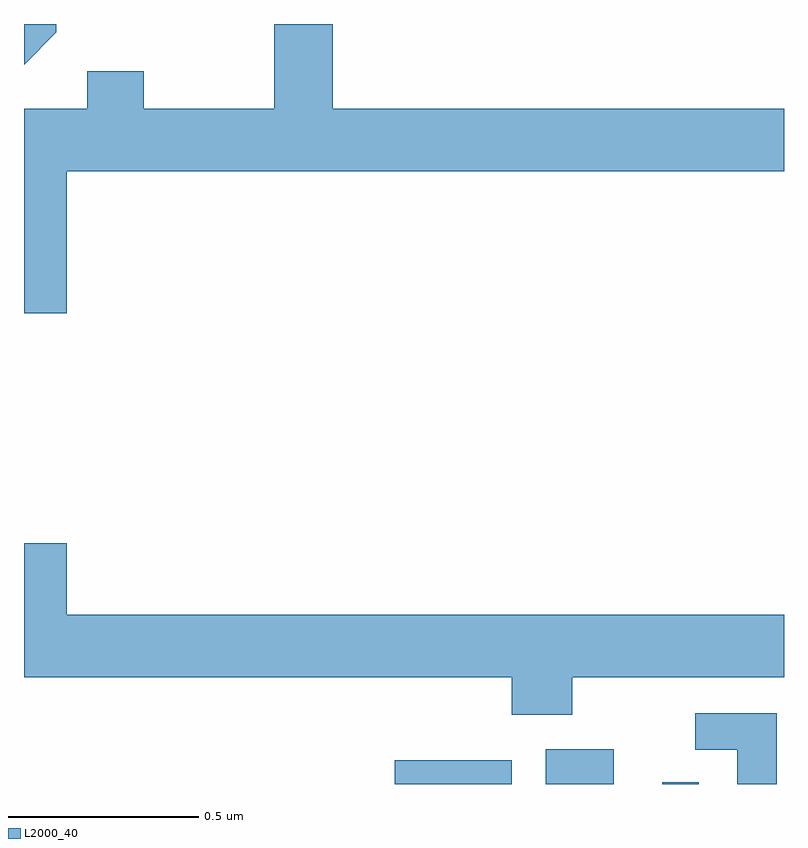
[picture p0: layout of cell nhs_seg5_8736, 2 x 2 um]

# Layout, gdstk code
import gdstk
lib = gdstk.Library(unit=1e-6, precision=1e-09)
def R(c, l, rs):  # rectangles x0, y0, x1, y1
    for r in rs: c.add(gdstk.rectangle(r[:2], r[2:], *l))
def P(c, l, *ps):  # polygons
    for p in ps: c.add(gdstk.Polygon(p, *l))
L2000_40 = (2000, 40)

nhs_seg5_8736 = lib.new_cell('nhs_seg5_8736')
R(nhs_seg5_8736, L2000_40, [(225.975,869.799,226.284,869.862), (226.373,869.799,226.552,869.89), (226.68,869.799,226.776,869.804)])
P(nhs_seg5_8736, L2000_40, [(225.112,871.412),(227,871.412),(227,871.576),(225.812,871.576),(225.812,871.799),(225.659,871.799),(225.659,871.576),(225.315,871.576),(225.315,871.675),(225.167,871.675),(225.167,871.576),(225,871.576),(225,871.038),(225.112,871.038)],
  [(225.085,871.777),(225.085,871.799),(225,871.799),(225,871.692)],
  [(226.443,870.08),(227,870.08),(227,870.244),(225.112,870.244),(225.112,870.433),(225,870.433),(225,870.08),(226.283,870.08),(226.283,869.981),(226.443,869.981)],
  [(226.981,869.985),(226.767,869.985),(226.767,869.889),(226.877,869.889),(226.877,869.799),(226.981,869.799)])

lib.write_gds('nhs_seg5_8736.gds')
